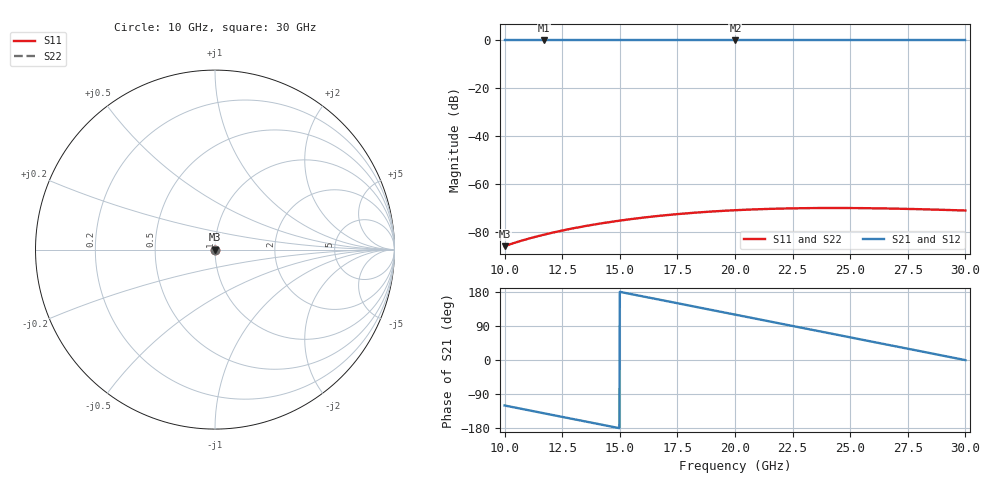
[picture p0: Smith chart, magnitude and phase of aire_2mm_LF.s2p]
! TOUCHSTONE file generated by CST MICROWAVE STUDIO
! Date and time: Fri Feb  2 19:49:55 2024
! Project name: aire_def.cst
! Header version: 2018
! Port assignment regex: !\s*Touchstone port\s*([0-9]+)\s*=\s*(CST MWS port|CST DS port)\s*([0-9]+|Zmin|Zmax)\s*\(\"(.*)\"\)(\s*mode\s*([0-9]+))?.*
! Touchstone port assignment:
! Touchstone port 1 = CST MWS port 1 ("")
! Touchstone port 2 = CST MWS port 2 ("")
# GHz S MA R 376.7
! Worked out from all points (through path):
!   1001 points, 10 GHz to 30 GHz, reference 376.7 ohm
!   highest |S21| = 0.00 dB at 11.72 GHz (marker M1); lowest = 0.0 dB at 20.02 GHz (marker M2)
!   group delay of S21, straight-line fit = 33.4 ps
!   lowest |S11| = -85.9 dB at 10 GHz (marker M3), VSWR 1.00, Z = 377 + j0.0186 ohm
!   |S11| at or under -10 dB: start of sweep to end of sweep
!   |S22| runs from -85.9 to -69.9 dB; largest |S21 - S12| = 1.8e-05
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10  5.079e-05 150.9  1 -120.1  1 -120.1  5.047e-05 151.0
10.78  6.716e-05 140.8  1 -129.5  1 -129.5  6.681e-05 140.7
11.72  8.854e-05 129.2  1 -140.7  1 -140.7  8.847e-05 129.2
12.22  0.0001006 123.2  1 -146.8  1 -146.8  0.0001007 123.2
13.34  0.0001292 109.8  1 -160.2  1 -160.2  0.0001294 109.9
14.18  0.0001515 99.8  1 -170.3  1 -170.3  0.0001517 99.9
15  0.0001736 89.9  1 179.9  1 179.9  0.0001736 90.0
15.84  0.0001959 79.8  1 169.8  1 169.8  0.0001958 79.9
16.68  0.0002174 69.7  1 159.7  1 159.7  0.0002172 69.7
18.26  0.0002541 50.6  1 140.7  1 140.7  0.0002539 50.6
20  0.0002861 29.7  1 119.8  1 119.8  0.0002865 29.6
20.02  0.0002864 29.4  1 119.6  1 119.6  0.0002868 29.4
20.86  0.000298 19.3  1 109.5  1 109.5  0.0002988 19.3
21.7  0.0003069 9.2  1 99.4  1 99.4  0.0003081 9.2
22.52  0.0003131 -0.6  1 89.6  1 89.6  0.0003145 -0.6
23.34  0.0003169 -10.4  1 79.7  1 79.7  0.0003184 -10.5
24.96  0.0003176 -29.8  1 60.3  1 60.3  0.000319 -29.8
26.68  0.0003104 -50.4  1 39.6  1 39.6  0.0003109 -50.4
27.54  0.0003044 -60.7  1 29.3  1 29.3  0.0003044 -60.8
28.38  0.0002973 -70.8  1 19.2  1 19.2  0.000297 -70.9
29.2  0.0002897 -80.6  1 9.3  1 9.3  0.0002893 -80.7
30  0.0002817 -90.2  1 -0.3  1 -0.3  0.0002816 -90.4
